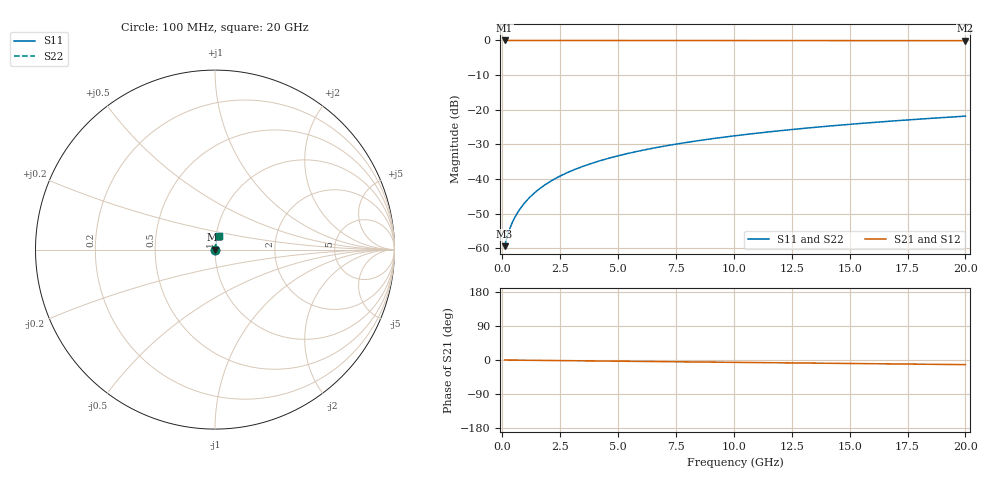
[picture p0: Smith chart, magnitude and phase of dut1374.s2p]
! Touchstone file exported from HFSS 2026.1.0
!  File:  C:/ffzhzh/LocalFiles/Ansys_Project_Files/temp_train_TMRDL_1374_1783165927_51560.aedt
!  Generated:  07:53:23 PM Jul  4, 2026
!  Design:  TMRDL
!  Project:  temp_train_TMRDL_1374_1783165927_51560
! Variables:
!  h_bsmrdl = 2um
!  h_ox = 20um
!  h_rdl = 5um
!  h_sub = 80um
!  h_tmrdl = 3.75um
!  h_tsv = 80um
!  h_via = 3um
!  l_bsmrdl = 300um
!  l_sub = 577.85um
!  l_tmrdl = 177.85um
!  m_sub = 200um
!  pitch = 36.53um
!  r_tsv = 6um
!  s_tmrdl = 10um
!  w_bsmrdl = 18um
!  w_sub = 500um
!  w_tmrdl = 24.03um
!  x_tsv_center1 = 189.865um
!  x_tsv_center2 = 507.865um
!  x_tsv_center3 = 709.745um
!  x_tsv_center4 = 1027.745um
!  x_tsv_center5 = 1229.625um
!  x_tsv_center6 = 1547.625um
# GHz S MA R 50.000000
! Terminal data exported
! Port[1] = TM_RDL1_1_T1
! Port[2] = TM_RDL1_1_T2
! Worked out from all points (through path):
!   200 points, 100 MHz to 20 GHz, reference 50 ohm
!   highest |S21| = -0.01 dB at 100 MHz (marker M1); lowest = -0.1 dB at 20 GHz (marker M2)
!   group delay of S21, straight-line fit = 1.69 ps
!   lowest |S11| = -59.4 dB at 100 MHz (marker M3), VSWR 1.00, Z = 50.1 + j0.0538 ohm
!   |S11| at or under -10 dB: start of sweep to end of sweep
!   |S22| runs from -59.4 to -21.9 dB; largest |S21 - S12| = 7.3e-15
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0.1  0.001072 30.0  0.9991 -0.1  0.9991 -0.1  0.001072 30.0
! Gamma 0 0 0 0
! Port Impedance 50 0 50 0
0.2  0.001435 46.0  0.999 -0.1  0.999 -0.1  0.001435 46.0
0.3  0.001831 54.3  0.9989 -0.2  0.9989 -0.2  0.001831 54.3
0.4  0.002226 59.7  0.9989 -0.3  0.9989 -0.3  0.002226 59.7
0.5  0.002622 63.5  0.9988 -0.3  0.9988 -0.3  0.002622 63.5
0.6  0.00302 66.5  0.9988 -0.4  0.9988 -0.4  0.00302 66.5
0.8  0.00383 70.8  0.9988 -0.5  0.9988 -0.5  0.00383 70.8
1  0.004657 73.7  0.9987 -0.6  0.9987 -0.6  0.004657 73.7
1.2  0.005495 75.7  0.9987 -0.8  0.9987 -0.8  0.005495 75.7
1.4  0.006341 77.2  0.9987 -0.9  0.9987 -0.9  0.006341 77.2
1.7  0.007618 78.7  0.9986 -1.1  0.9986 -1.1  0.007618 78.7
2.2  0.009756 80.2  0.9985 -1.4  0.9985 -1.4  0.009756 80.2
2.8  0.01232 81.1  0.9984 -1.8  0.9984 -1.8  0.01232 81.1
3.5  0.0153 81.5  0.9982 -2.2  0.9982 -2.2  0.0153 81.5
4.2  0.01825 81.6  0.998 -2.6  0.998 -2.6  0.01825 81.6
5  0.0216 81.5  0.9977 -3.1  0.9977 -3.1  0.0216 81.5
6.8  0.02901 80.9  0.9971 -4.2  0.9971 -4.2  0.02901 80.9
8.3  0.03508 80.3  0.9966 -5.1  0.9966 -5.1  0.03508 80.3
10.1  0.04228 79.5  0.996 -6.2  0.996 -6.2  0.04228 79.5
13.4  0.05528 77.9  0.9947 -8.2  0.9947 -8.2  0.05528 77.9
16.7  0.0681 76.2  0.9935 -10.2  0.9935 -10.2  0.0681 76.2
20  0.08076 74.5  0.9921 -12.2  0.9921 -12.2  0.08076 74.5
